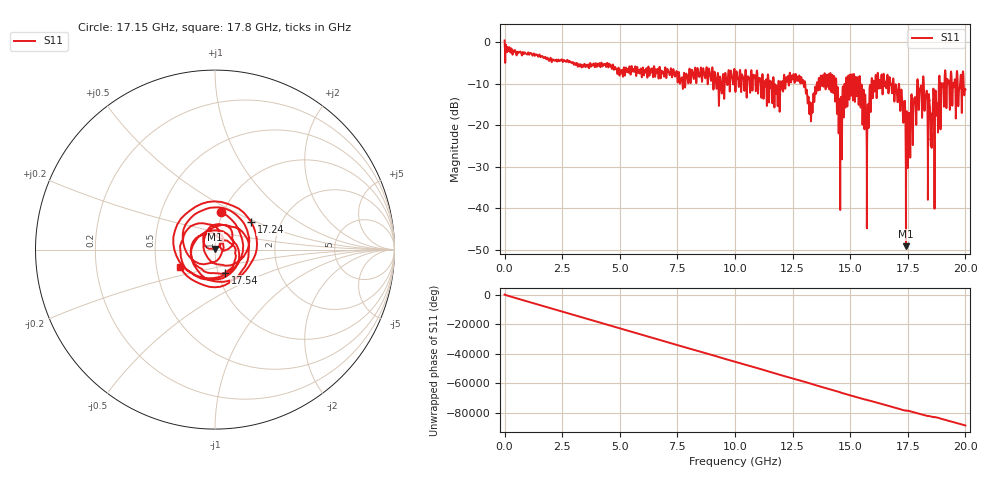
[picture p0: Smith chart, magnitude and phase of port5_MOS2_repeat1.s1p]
! MS46122B
! 2250307/22442219
! 7/25/2025 1:51:04 PM
! C:\USERS\SPARKY\DOCUMENTS\VNA_DATA\JULY25_2025\3K\PORT5_MOS2_REPEAT1.S1P
! CHANNEL.1
! TR.MEASUREMENT
! RAW.DATA
# GHZ S RI R 50.0
! FREQ.GHZ  S11RE  S11IM
!; PortSelection: Port_1
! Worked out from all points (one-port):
!   10001 points, 1 MHz to 20 GHz, reference 50 ohm
!   lowest |S11| = -49.1 dB at 17.42 GHz (marker M1), VSWR 1.01, Z = 50.2 + j0.317 ohm
!   |S11| at or under -10 dB: 13.05 GHz to 13.55 GHz (503.6 MHz wide, 3.79 % of centre); 16.89 GHz to 17.9 GHz (1.015 GHz wide, 5.84 % of centre); 18.2 GHz to 18.85 GHz (654.2 MHz wide, 3.53 % of centre) (the widest 3 of 79)
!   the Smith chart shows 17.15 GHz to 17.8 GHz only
!   S11 on the Smith chart (normalised r, x): 17.15 GHz: 0.98, +0.43; 17.24 GHz: 1.42, +0.46; 17.54 GHz: 1.08, -0.28; 17.8 GHz: 0.66, -0.13
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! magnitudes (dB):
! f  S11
! 1 MHz  0.4
! 2.501 GHz  -4.3
! 5.001 GHz  -7.7
! 7.501 GHz  -9.0
! 10 GHz  -8.7
! 11.86 GHz  -13.1
! 12.5 GHz  -8.9
! 12.96 GHz  -9.2
! 13.29 GHz  -18.6
! 13.65 GHz  -8.7
! 14.22 GHz  -7.9
! 14.57 GHz  -31.9
! 15 GHz  -7.8
! 15.41 GHz  -8.2
! 15.71 GHz  -22.5
! 15.93 GHz  -9.1
! 16.12 GHz  -8.3
! 17.15 GHz  -13.5
! 17.24 GHz  -11.9
! 17.42 GHz  -49.1
! 17.5 GHz  -27.6
! 17.54 GHz  -17.0
! 17.8 GHz  -13.3
! 17.99 GHz  -14.2
! 18.24 GHz  -14.5
! 18.46 GHz  -15.9
! 19.05 GHz  -11.6
! 20 GHz  -11.5
